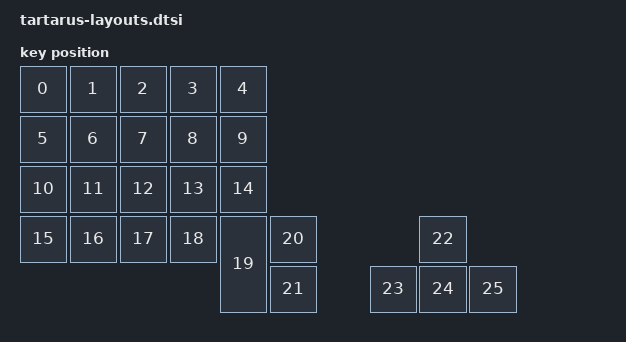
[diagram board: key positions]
/*
 * Copyright (c) 2026 Chris Dietz
 * GPL-2.0-or-later
 */

#include <dt-bindings/zmk/keys.h>
#include <physical_layouts.dtsi>

/ {
    // Manually define the helper node to avoid "file not found" errors
//    key_physical_attrs: key_physical_attrs {
//        compatible = "zmk,key-physical-attrs";
//        #key-cells = <7>;
//    };

    physical_layout0: physical_layout_0 {
        compatible = "zmk,physical-layout";
        display-name = "Tartarus Layout";

        kscan = <&kscan0>;
        transform = <&default_transform>;

        keys  //                    w    h     x     y      rot     rx     ry
            = <&key_physical_attrs 100 100     0     0       0      0      0> // 0
            , <&key_physical_attrs 100 100   100     0       0      0      0> // 1
            , <&key_physical_attrs 100 100   200     0       0      0      0> // 2
            , <&key_physical_attrs 100 100   300     0       0      0      0> // 3
            , <&key_physical_attrs 100 100   400     0       0      0      0> // 4
            , <&key_physical_attrs 100 100     0   100       0      0      0> // 5
            , <&key_physical_attrs 100 100   100   100       0      0      0> // 6
            , <&key_physical_attrs 100 100   200   100       0      0      0> // 7
            , <&key_physical_attrs 100 100   300   100       0      0      0> // 8
            , <&key_physical_attrs 100 100   400   100       0      0      0> // 9
            , <&key_physical_attrs 100 100     0   200       0      0      0> // 10
            , <&key_physical_attrs 100 100   100   200       0      0      0> // 11
            , <&key_physical_attrs 100 100   200   200       0      0      0> // 12
            , <&key_physical_attrs 100 100   300   200       0      0      0> // 13
            , <&key_physical_attrs 100 100   400   200       0      0      0> // 14
            , <&key_physical_attrs 100 100     0   300       0      0      0> // 15
            , <&key_physical_attrs 100 100   100   300       0      0      0> // 16
            , <&key_physical_attrs 100 100   200   300       0      0      0> // 17
            , <&key_physical_attrs 100 100   300   300       0      0      0> // 18
            , <&key_physical_attrs 100 200   400   300       0      0      0> // 19 (Scroll)
            , <&key_physical_attrs 100 100   500   300       0      0      0> // 20 (Thumb PCB)
            , <&key_physical_attrs 100 100   500   400       0      0      0> // 21 (Thumb Click)
            , <&key_physical_attrs 100 100   800   300       0      0      0> // 22 (W)
            , <&key_physical_attrs 100 100   700   400       0      0      0> // 23 (A)
            , <&key_physical_attrs 100 100   800   400       0      0      0> // 24 (S)
            , <&key_physical_attrs 100 100   900   400       0      0      0> // 25 (D)
            ;
    };
};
